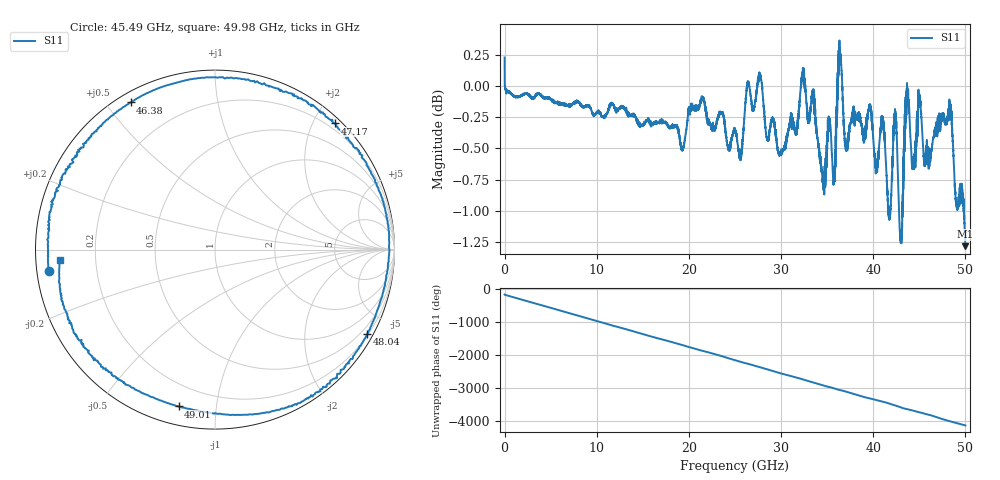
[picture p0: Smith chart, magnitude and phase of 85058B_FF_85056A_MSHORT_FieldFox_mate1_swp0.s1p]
!Created with skrf (http://scikit-rf.org).
# Hz S RI R 50.0
!freq ReS11 ImS11
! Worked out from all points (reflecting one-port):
!   10001 points, 300 kHz to 50 GHz, reference 50 ohm
!   lowest |S11| = -1.3 dB at 50 GHz (marker M1), VSWR 13.58, Z = 3.68 - j1.02 ohm
!   phase of S11 starts at -174 deg and turns -3963 deg over the sweep
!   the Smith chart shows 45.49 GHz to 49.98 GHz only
!   S11 on the Smith chart (normalised r, x): 45.49 GHz: 0.03, -0.07; 46.38 GHz: 0.04, +0.58; 47.17 GHz: 0.10, +2.33; 48.04 GHz: 0.24, -3.85; 49.01 GHz: 0.09, -0.79; 49.98 GHz: 0.07, -0.03
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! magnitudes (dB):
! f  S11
! 300 kHz  0.2
! 6.25 GHz  -0.1
! 12.5 GHz  -0.2
! 18.75 GHz  -0.3
! 25 GHz  -0.4
! 27.68 GHz  0.1
! 29.82 GHz  -0.6
! 31.25 GHz  -0.3
! 32.4 GHz  0.0
! 34.56 GHz  -0.8
! 35.22 GHz  -0.3
! 35.7 GHz  -0.8
! 36.38 GHz  0.3
! 36.99 GHz  -0.5
! 37.5 GHz  -0.3
! 41.01 GHz  -0.3
! 41.74 GHz  -1.1
! 42.38 GHz  -0.2
! 42.97 GHz  -1.2
! 43.75 GHz  -0.1
! 44.31 GHz  -0.6
! 45.49 GHz  -0.6
! 46.38 GHz  -0.5
! 47.17 GHz  -0.3
! 48.04 GHz  -0.3
! 49.01 GHz  -0.9
! 49.98 GHz  -1.2
! 50 GHz  -1.3
